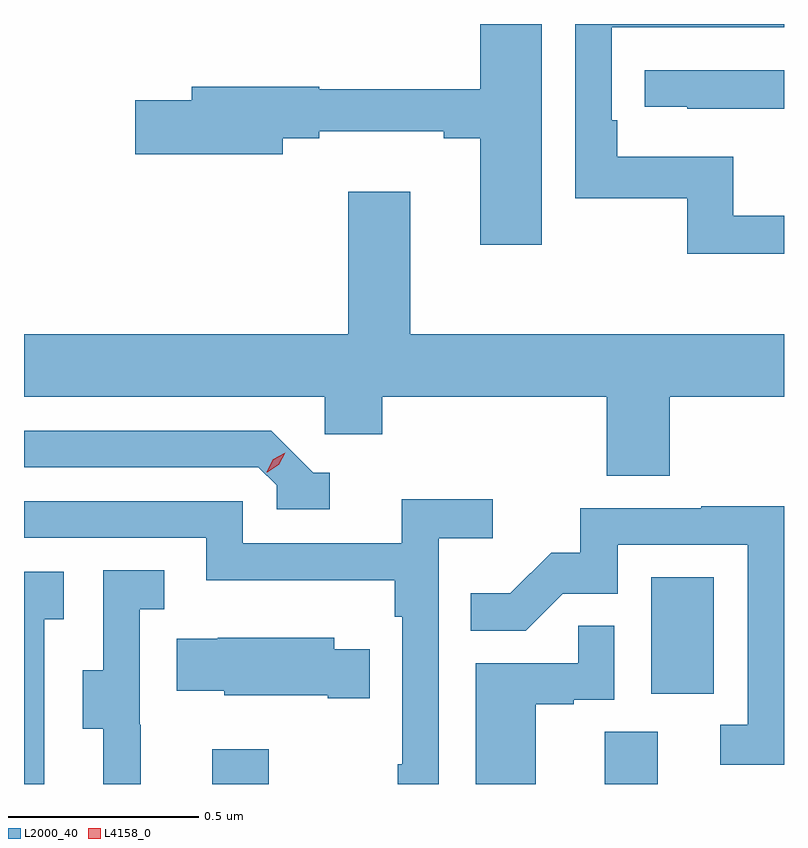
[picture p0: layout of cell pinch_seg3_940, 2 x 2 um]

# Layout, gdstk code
import gdstk
lib = gdstk.Library(unit=1e-6, precision=1e-09)
def R(c, l, rs):  # rectangles x0, y0, x1, y1
    for r in rs: c.add(gdstk.rectangle(r[:2], r[2:], *l))
def P(c, l, *ps):  # polygons
    for p in ps: c.add(gdstk.Polygon(p, *l))
L2000_40 = (2000, 40)
L4158_0 = (4158, 0)

pinch_seg3_940 = lib.new_cell('pinch_seg3_940')
R(pinch_seg3_940, L2000_40, [(883.931,686.577,884.079,686.668), (884.963,686.577,885.103,686.714), (885.086,686.814,885.25,687.121)])
P(pinch_seg3_940, L2000_40, [(884.797,688.577),(884.636,688.577),(884.636,688.405),(884.212,688.405),(884.212,688.412),(883.877,688.412),(883.877,688.376),(883.728,688.376),(883.728,688.234),(884.116,688.234),(884.116,688.276),(884.212,688.276),(884.212,688.295),(884.54,688.295),(884.54,688.276),(884.636,688.276),(884.636,687.996),(884.797,687.996)],
  [(885.435,688.073),(885.301,688.073),(885.301,688.228),(884.996,688.228),(884.996,688.324),(884.982,688.324),(884.982,688.569),(885.295,688.569),(885.295,688.568),(885.435,688.568),(885.435,688.577),(884.886,688.577),(884.886,688.119),(885.18,688.119),(885.18,687.972),(885.435,687.972)],
  [(885.435,688.455),(885.069,688.455),(885.069,688.359),(885.181,688.359),(885.181,688.354),(885.435,688.354)],
  [(885.134,687.596),(885.435,687.596),(885.435,687.76),(884.452,687.76),(884.452,688.135),(884.288,688.135),(884.288,687.76),(883.435,687.76),(883.435,687.596),(884.226,687.596),(884.226,687.498),(884.378,687.498),(884.378,687.596),(884.969,687.596),(884.969,687.388),(885.134,687.388)],
  [(884.239,687.396),(884.196,687.396),(884.085,687.507),(883.435,687.507),(883.435,687.411),(884.052,687.411),(884.1,687.363),(884.1,687.3),(884.239,687.3)],
  [(884.526,687.224),(884.668,687.224),(884.668,687.326),(884.429,687.326),(884.429,687.21),(884.01,687.21),(884.01,687.321),(883.435,687.321),(883.435,687.225),(883.914,687.225),(883.914,687.113),(884.41,687.113),(884.41,687.017),(884.43,687.017),(884.43,686.629),(884.418,686.629),(884.418,686.577),(884.526,686.577)],
  [(885.435,687.308),(885.217,687.308),(885.217,687.303),(884.899,687.303),(884.899,687.186),(884.822,687.186),(884.715,687.079),(884.611,687.079),(884.611,686.98),(884.755,686.98),(884.853,687.078),(884.997,687.078),(884.997,687.207),(885.339,687.207),(885.339,686.733),(885.267,686.733),(885.267,686.628),(885.435,686.628)],
  [(883.742,686.733),(883.74,686.733),(883.74,687.037),(883.804,687.037),(883.804,687.14),(883.644,687.14),(883.644,686.877),(883.589,686.877),(883.589,686.722),(883.643,686.722),(883.643,686.577),(883.742,686.577)],
  [(883.488,687.011),(883.54,687.011),(883.54,687.135),(883.435,687.135),(883.435,686.577),(883.488,686.577)],
  [(884.782,686.787),(884.882,686.787),(884.882,686.799),(884.988,686.799),(884.988,686.993),(884.893,686.993),(884.893,686.895),(884.624,686.895),(884.624,686.577),(884.782,686.577)],
  [(884.345,686.932),(884.251,686.932),(884.251,686.962),(883.945,686.962),(883.945,686.959),(883.837,686.959),(883.837,686.822),(883.962,686.822),(883.962,686.81),(884.234,686.81),(884.234,686.803),(884.345,686.803)])
P(pinch_seg3_940, L4158_0, [(884.074,687.398),(884.074,687.399),(884.091,687.431),(884.123,687.449),(884.123,687.449),(884.123,687.449),(884.106,687.417),(884.075,687.398)])

lib.write_gds('pinch_seg3_940.gds')
